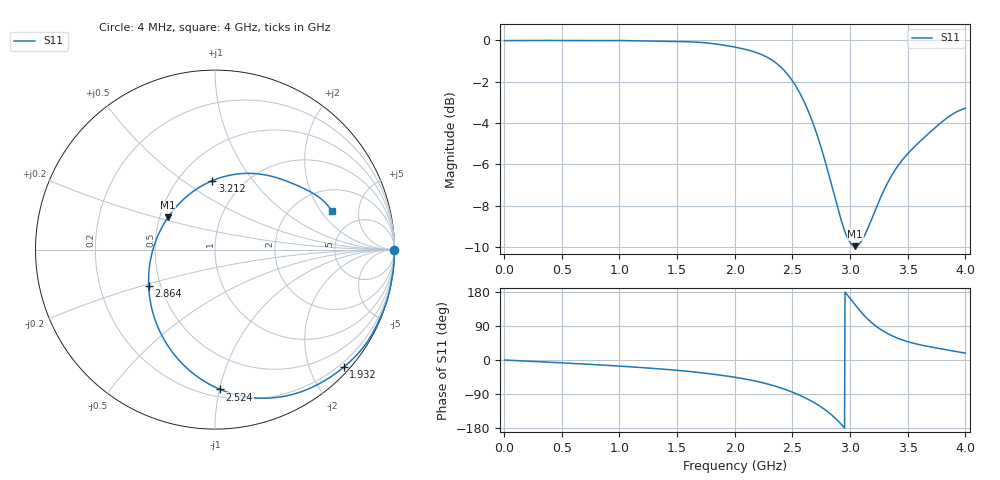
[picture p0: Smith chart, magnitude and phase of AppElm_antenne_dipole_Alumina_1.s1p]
! TOUCHSTONE file generated by CST MICROWAVE STUDIO
! Date and time: Sat May 14 11:42:10 2022
! Project name: AppElm_antenne_dipole_Alumina.cst
! Parameters = {L=24.75; e=0.035; f=2.45e+09; h=1.6; i=0.8; l1=2; lambda=122.449; ls=30; wl=1.7; ws=80}
! Header version: 2018
! Port assignment regex: !\s*Touchstone port\s*([0-9]+)\s*=\s*(CST MWS port|CST DS port)\s*([0-9]+|Zmin|Zmax)\s*\(\"(.*)\"\)(\s*mode\s*([0-9]+))?.*
! Touchstone port assignment:
! Touchstone port 1 = CST MWS port 1 ("")
# GHz S MA R 50
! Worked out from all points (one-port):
!   1000 points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, 4 MHz to 4 GHz, reference 50 ohm
!   lowest |S11| = -10.0 dB at 3.044 GHz (marker M1), VSWR 1.93, Z = 27.7 + j11 ohm
!   |S11| at or under -10 dB: nowhere
!   S11 on the Smith chart (normalised r, x): 4 MHz: open; 1.932 GHz: 0.11, -2.57; 2.524 GHz: 0.25, -1.01; 2.864 GHz: 0.43, -0.21; 3.212 GHz: 0.72, +0.65; 4 GHz: 3.18, +2.55
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0.004  0.999 -0.1
0.504  0.9994 -7.6
1.004  0.9994 -16.1
1.504  0.9941 -27.4
1.728  0.9879 -34.4
1.932  0.9713 -42.4
2.004  0.9632 -45.7
2.14  0.9437 -53.1
2.26  0.917 -61.4
2.392  0.8658 -73.0
2.504  0.7953 -85.4
2.524  0.7797 -87.9
2.62  0.6925 -101.3
2.716  0.5882 -117.5
2.792  0.5003 -133.2
2.864  0.4211 -151.4
2.932  0.3603 -172.6
3.004  0.3231 161.0
3.044  0.3177 145.6
3.128  0.3383 115.7
3.212  0.3843 92.2
3.272  0.421 79.2
3.336  0.4579 68.1
3.42  0.4993 56.7
3.504  0.5334 48.0
3.616  0.5729 39.5
3.78  0.6295 29.9
4  0.6854 18.1
